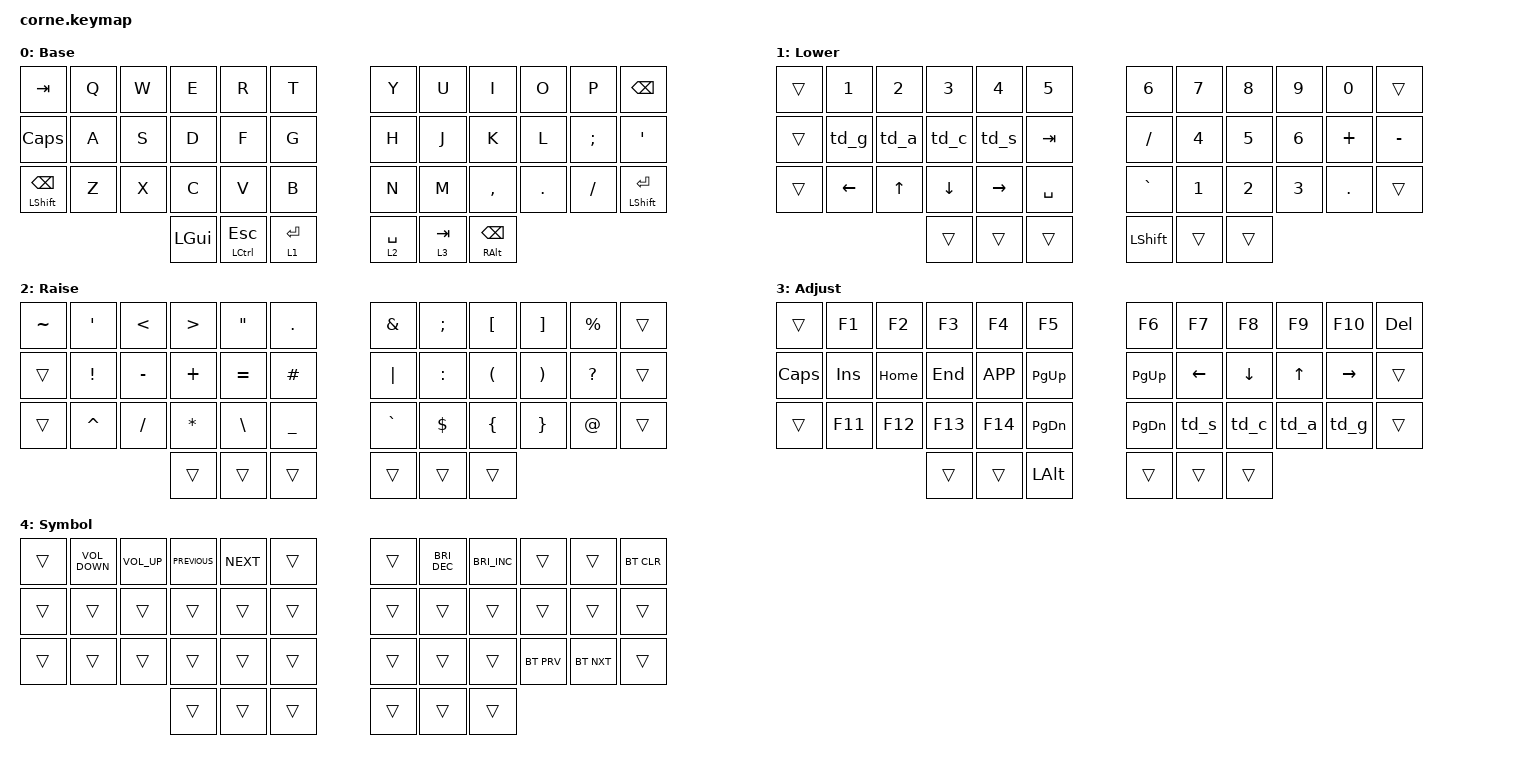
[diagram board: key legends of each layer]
/*
 * Copyright (c) 2020 The ZMK Contributors
 *
 * SPDX-License-Identifier: MIT
 */

#include <behaviors.dtsi>
#include <dt-bindings/zmk/bt.h>
#include <dt-bindings/zmk/keys.h>
#include <dt-bindings/zmk/keys.h>

&lt { hold-while-undecided; };

&caps_word { continue-list = <UNDERSCORE BACKSPACE DELETE MINUS>; };

&mt { hold-while-undecided; };

/ {
    combos {
        compatible = "zmk,combos";

        Mute {
            bindings = <&kp C_MUTE>;
            key-positions = <1 2>;
            layers = <4>;
        };

        Play,Pause {
            bindings = <&kp C_PLAY_PAUSE>;
            key-positions = <3 4>;
            layers = <4>;
        };

        tilde {
            bindings = <&kp TILDE>;
            key-positions = <30 31>;
            layers = <2>;
        };

        cd {
            bindings = <&cd>;
            key-positions = <27 28>;
            layers = <0>;
        };

        caps_word {
            bindings = <&caps_word>;
            key-positions = <16 17>;
            layers = <1>;
        };

        pg_dn {
            bindings = <&kp PG_DN>;
            key-positions = <28 27>;
            layers = <1>;
        };

        pg_up {
            bindings = <&kp PG_UP>;
            key-positions = <26 25>;
            layers = <1>;
        };
    };

    macros {
        cd: cd {
            compatible = "zmk,behavior-macro";
            #binding-cells = <0>;
            bindings = <&kp C &kp D>;
            label = "CD";
        };

        caps_layer: caps_layer {
            compatible = "zmk,behavior-macro";
            #binding-cells = <0>;
            bindings =
                <&macro_press>,
                <&mo 0 &kp CAPSLOCK>,
                <&macro_pause_for_release>,
                <&macro_release>,
                <&mo 0 &kp CAPSLOCK>;

            label = "CAPS_LAYER";
        };
    };

    behaviors {
        td_s: td_s {
            compatible = "zmk,behavior-tap-dance";
            label = "TD_S";
            #binding-cells = <0>;
            bindings = <&sk LEFT_SHIFT>, <&kt LEFT_SHIFT>;
        };

        td_c: td_c {
            compatible = "zmk,behavior-tap-dance";
            label = "TD_C";
            #binding-cells = <0>;
            bindings = <&sk LEFT_CONTROL>, <&kt LEFT_CONTROL>;
        };

        td_a: td_a {
            compatible = "zmk,behavior-tap-dance";
            label = "TD_A";
            #binding-cells = <0>;
            bindings = <&sk LEFT_ALT>, <&kt LEFT_ALT>;
        };

        td_g: td_g {
            compatible = "zmk,behavior-tap-dance";
            label = "TD_G";
            #binding-cells = <0>;
            bindings = <&sk LEFT_GUI>, <&kt LEFT_GUI>;
        };

        ht_caps: ht_caps {
            compatible = "zmk,behavior-hold-tap";
            label = "HT_CAPS";
            bindings = <&caps_layer>, <&kp>;

            #binding-cells = <2>;
            tapping-term-ms = <150>;
        };
    };

    keymap {
        compatible = "zmk,keymap";

        default_layer {
            // -----------------------------------------------------------------------------------------
            // |  TAB |  Q  |  W  |  E  |  R  |  T  |   |  Y  |  U   |  I  |  O  |  P  | BKSP |
            // | CTRL |  A  |  S  |  D  |  F  |  G  |   |  H  |  J   |  K  |  L  |  ;  |  '   |
            // | SHFT |  Z  |  X  |  C  |  V  |  B  |   |  N  |  M   |  ,  |  .  |  /  | ESC  |
            //                    | GUI | LWR | SPC |   | ENT | RSE  | ALT |

            label = "Base";
            bindings = <
&kp TAB              &kp Q  &kp W  &kp E     &kp R             &kp T           &kp Y        &kp U      &kp I               &kp O    &kp P     &kp BSPC
&kp CAPSLOCK         &kp A  &kp S  &kp D     &kp F             &kp G           &kp H        &kp J      &kp K               &kp L    &kp SEMI  &kp SQT
&mt LSHFT BACKSPACE  &kp Z  &kp X  &kp C     &kp V             &kp B           &kp N        &kp M      &kp COMMA           &kp DOT  &kp FSLH  &mt LEFT_SHIFT ENTER
                                   &kp LGUI  &mt LCTRL ESCAPE  &lt 1 RETURN    &lt 2 SPACE  &lt 3 TAB  &mt RALT BACKSPACE
            >;
        };

        lower_layer {
            // -----------------------------------------------------------------------------------------
            // |  TAB |  1  |  2  |  3  |  4  |  5  |   |  6  |  7  |  8  |  9  |  0  | BKSP |
            // | BTCLR| BT1 | BT2 | BT3 | BT4 | BT5 |   | LFT | DWN |  UP | RGT |     |      |
            // | SHFT |     |     |     |     |     |   |     |     |     |     |     |      |
            //                    | GUI |     | SPC |   | ENT |     | ALT |

            label = "Lower";
            bindings = <
&trans  &kp N1    &kp N2  &kp N3    &kp N4     &kp N5       &kp N6          &kp N7  &kp N8  &kp N9  &kp N0      &trans
&trans  &td_g     &td_a   &td_c     &td_s      &kp TAB      &kp SLASH       &kp N4  &kp N5  &kp N6  &kp PLUS    &kp MINUS
&trans  &kp LEFT  &kp UP  &kp DOWN  &kp RIGHT  &kp SPACE    &kp GRAVE       &kp N1  &kp N2  &kp N3  &kp PERIOD  &trans
                          &trans    &trans     &trans       &kp LEFT_SHIFT  &trans  &trans
            >;
        };

        raise_layer {
            // -----------------------------------------------------------------------------------------
            // |  TAB |  !  |  @  |  #  |  $  |  %  |   |  ^  |  &  |  *  |  (  |  )  | BKSP |
            // | CTRL |     |     |     |     |     |   |  -  |  =  |  [  |  ]  |  \  |  `   |
            // | SHFT |     |     |     |     |     |   |  _  |  +  |  {  |  }  | "|" |  ~   |
            //                    | GUI |     | SPC |   | ENT |     | ALT |

            label = "Raise";
            bindings = <
&kp TILDE  &kp SINGLE_QUOTE  &kp LESS_THAN  &kp GREATER_THAN  &kp DOUBLE_QUOTES  &kp DOT           &kp AMPERSAND  &kp SEMICOLON  &kp LEFT_BRACKET      &kp RIGHT_BRACKET      &kp PERCENT   &trans
&trans     &kp EXCLAMATION   &kp MINUS      &kp PLUS          &kp EQUAL          &kp POUND         &kp PIPE       &kp COLON      &kp LEFT_PARENTHESIS  &kp RIGHT_PARENTHESIS  &kp QUESTION  &trans
&trans     &kp CARET         &kp FSLH       &kp ASTERISK      &kp BSLH           &kp UNDERSCORE    &kp GRAVE      &kp DOLLAR     &kp LBRC              &kp RBRC               &kp AT_SIGN   &trans
                                            &trans            &trans             &trans            &trans         &trans         &trans
            >;
        };

        adjust_layer {
            bindings = <
&trans    &kp F1   &kp F2    &kp F3   &kp F4     &kp F5           &kp F6     &kp F7    &kp F8    &kp F9  &kp F10    &kp DEL
&kp CAPS  &kp INS  &kp HOME  &kp END  &kp K_APP  &kp PAGE_UP      &kp PG_UP  &kp LEFT  &kp DOWN  &kp UP  &kp RIGHT  &trans
&trans    &kp F11  &kp F12   &kp F13  &kp F14    &kp PAGE_DOWN    &kp PG_DN  &td_s     &td_c     &td_a   &td_g      &trans
                             &trans   &trans     &kp LEFT_ALT     &trans     &trans    &trans
            >;

            label = "Adjust";
        };

        symbol_layer {
            bindings = <
&trans  &kp C_VOLUME_DOWN  &kp C_VOLUME_UP  &kp C_PREVIOUS  &kp C_NEXT  &trans    &trans  &kp C_BRIGHTNESS_DEC  &kp C_BRIGHTNESS_INC  &trans      &trans      &bt BT_CLR
&trans  &trans             &trans           &trans          &trans      &trans    &trans  &trans                &trans                &trans      &trans      &trans
&trans  &trans             &trans           &trans          &trans      &trans    &trans  &trans                &trans                &bt BT_PRV  &bt BT_NXT  &trans
                                            &trans          &trans      &trans    &trans  &trans                &trans
            >;

            label = "Symbol";
        };
    };

    conditional_layers {
        compatible = "zmk,conditional-layers";

        Symbol {
            if-layers = <1 2>;
            then-layer = <4>;
        };
    };
};
